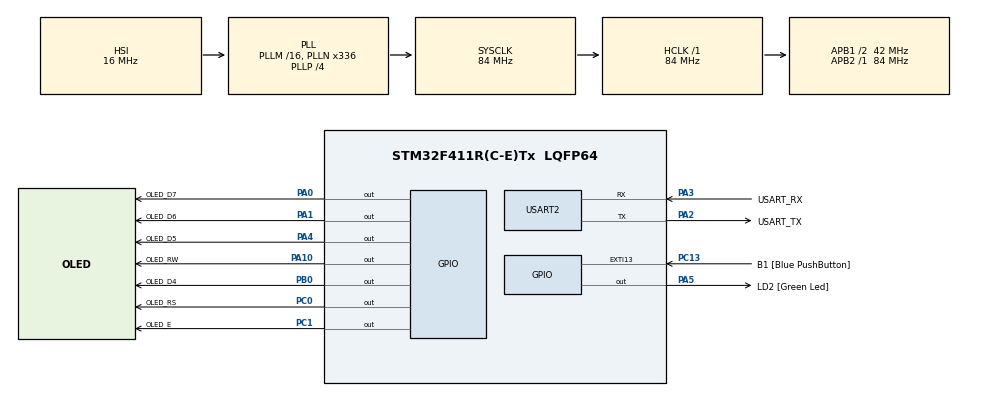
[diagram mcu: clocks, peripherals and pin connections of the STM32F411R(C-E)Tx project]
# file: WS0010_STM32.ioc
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Mcu.Family=STM32F4
Mcu.Name=STM32F411R(C-E)Tx
Mcu.Package=LQFP64
NVIC.PriorityGroup=NVIC_PRIORITYGROUP_0
PA0-WKUP.GPIO_Label=OLED_D7
PA0-WKUP.Signal=GPIO_Output
PA1.GPIO_Label=OLED_D6
PA1.Signal=GPIO_Output
PA10.GPIO_Label=OLED_RW
PA10.Signal=GPIO_Output
PA2.GPIO_Label=USART_TX
PA2.Mode=Asynchronous
PA2.Signal=USART2_TX
PA3.GPIO_Label=USART_RX
PA3.Mode=Asynchronous
PA3.Signal=USART2_RX
PA4.GPIO_Label=OLED_D5
PA4.Signal=GPIO_Output
PA5.GPIO_Label=LD2 [Green Led]
PA5.Signal=GPIO_Output
PB0.GPIO_Label=OLED_D4
PB0.Signal=GPIO_Output
PC0.GPIO_Label=OLED_RS
PC0.Signal=GPIO_Output
PC1.GPIO_Label=OLED_E
PC1.Signal=GPIO_Output
PC13-ANTI_TAMP.GPIO_Label=B1 [Blue PushButton]
PC13-ANTI_TAMP.GPIO_ModeDefaultEXTI=GPIO_MODE_IT_FALLING
PC13-ANTI_TAMP.Signal=GPXTI13
ProjectManager.HeapSize=0x200
ProjectManager.StackSize=0x400
ProjectManager.TargetToolchain=TrueSTUDIO
RCC.48MHZClocksFreq_Value=84000000
RCC.AHBFreq_Value=84000000
RCC.APB1CLKDivider=RCC_HCLK_DIV2
RCC.APB1Freq_Value=42000000
RCC.APB1TimFreq_Value=84000000
RCC.APB2Freq_Value=84000000
RCC.APB2TimFreq_Value=84000000
RCC.CortexFreq_Value=84000000
RCC.FLatency-AdvancedSettings=FLASH_LATENCY_2
RCC.HCLKFreq_Value=84000000
RCC.HSE_VALUE=8000000
RCC.HSI_VALUE=16000000
RCC.PLLN=336
RCC.PLLP=RCC_PLLP_DIV4
RCC.SYSCLKFreq_VALUE=84000000
RCC.SYSCLKSource=RCC_SYSCLKSOURCE_PLLCLK
RCC.VCOOutputFreq_Value=336000000
USART2.VirtualMode=VM_ASYNC
board=NUCLEO-F411RE

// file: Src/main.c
/* USER CODE BEGIN Header */
/**
 ******************************************************************************
 * @file           : main.c
 * @brief          : Main program body
 ******************************************************************************
 * @attention
 *
 *Copyright 2019 SimpleMethod
 *
 *Permission is hereby granted, free of charge, to any person obtaining a copy of
 *this software and associated documentation files (the "Software"), to deal in
 *the Software without restriction, including without limitation the rights to
 *use, copy, modify, merge, publish, distribute, sublicense, and/or sell copies
 *of the Software, and to permit persons to whom the Software is furnished to do
 *so, subject to the following conditions:
 *
 *The above copyright notice and this permission notice shall be included in all
 *copies or substantial portions of the Software.
 *
 *THE SOFTWARE IS PROVIDED "AS IS", WITHOUT WARRANTY OF ANY KIND, EXPRESS OR
 *IMPLIED, INCLUDING BUT NOT LIMITED TO THE WARRANTIES OF MERCHANTABILITY,
 *FITNESS FOR A PARTICULAR PURPOSE AND NONINFRINGEMENT. IN NO EVENT SHALL THE
 *AUTHORS OR COPYRIGHT HOLDERS BE LIABLE FOR ANY CLAIM, DAMAGES OR OTHER
 *LIABILITY, WHETHER IN AN ACTION OF CONTRACT, TORT OR OTHERWISE, ARISING FROM,
 *OUT OF OR IN CONNECTION WITH THE SOFTWARE OR THE USE OR OTHER DEALINGS IN
 *THE SOFTWARE.
 ******************************************************************************
 */
/* USER CODE END Header */

#include "main.h"

/* USER CODE BEGIN Includes */
#include <stdio.h>
#include <stdarg.h>
#include <string.h>
#include "OLED_WS0010.h"
/* USER CODE END Includes */

UART_HandleTypeDef huart2;

void SystemClock_Config(void);
static void MX_GPIO_Init(void);
static void MX_USART2_UART_Init(void);

/* USER CODE BEGIN 0 */
void vprint(const char *fmt, va_list argp) {
	char string[200];
	if (0 < vsprintf(string, fmt, argp)) // build string
			{
		HAL_UART_Transmit(&huart2, (uint8_t*) string, strlen(string), 0xffffff); // send message via UART
	}
}

void my_printf(const char *fmt, ...) // custom printf() function
{
	va_list argp;
	va_start(argp, fmt);
	vprint(fmt, argp);
	va_end(argp);
}
/* USER CODE END 0 */

int main(void) {

	/* MCU Configuration--------------------------------------------------------*/

	/* Reset of all peripherals, Initializes the Flash interface and the Systick. */
    	HAL_Init();

	/* Configure the system clock */
	SystemClock_Config();

	/* Initialize all configured peripherals */
	MX_GPIO_Init();
	MX_USART2_UART_Init();
	/* USER CODE BEGIN 2 */

	Oled_HandleTypeDef oled;

	GPIO_TypeDef* data_ports[] = { OLED_D4_GPIO_Port, OLED_D5_GPIO_Port,
	OLED_D6_GPIO_Port, OLED_D7_GPIO_Port };

	uint16_t data_pins[] =
			{ OLED_D4_Pin, OLED_D5_Pin, OLED_D6_Pin, OLED_D7_Pin };

	oled = Oled_init(OLED_RS_GPIO_Port, OLED_RS_Pin,
	OLED_E_GPIO_Port, OLED_E_Pin, data_ports, data_pins);

	Oled_cursor(&oled, 0, 2);
	Oled_string(&oled, "Hello ");

	Oled_cursor(&oled, 1, 8);
	Oled_string(&oled, "world!");

	HAL_Delay(3000);

	Oled_cursor(&oled, 1, 14);
	Oled_blink(&oled);

	/* USER CODE END 2 */

	/* Infinite loop */
	while (1) {

	}
}

void SystemClock_Config(void) {
	RCC_OscInitTypeDef RCC_OscInitStruct = { 0 };
	RCC_ClkInitTypeDef RCC_ClkInitStruct = { 0 };

	/** Configure the main internal regulator output voltage
	 */
	__HAL_RCC_PWR_CLK_ENABLE()
	;
	__HAL_PWR_VOLTAGESCALING_CONFIG(PWR_REGULATOR_VOLTAGE_SCALE1);
	/** Initializes the CPU, AHB and APB busses clocks
	 */
	RCC_OscInitStruct.OscillatorType = RCC_OSCILLATORTYPE_HSI;
	RCC_OscInitStruct.HSIState = RCC_HSI_ON;
	RCC_OscInitStruct.HSICalibrationValue = RCC_HSICALIBRATION_DEFAULT;
	RCC_OscInitStruct.PLL.PLLState = RCC_PLL_ON;
	RCC_OscInitStruct.PLL.PLLSource = RCC_PLLSOURCE_HSI;
	RCC_OscInitStruct.PLL.PLLM = 16;
	RCC_OscInitStruct.PLL.PLLN = 336;
	RCC_OscInitStruct.PLL.PLLP = RCC_PLLP_DIV4;
	RCC_OscInitStruct.PLL.PLLQ = 4;
	if (HAL_RCC_OscConfig(&RCC_OscInitStruct) != HAL_OK) {
		Error_Handler();
	}
	/** Initializes the CPU, AHB and APB busses clocks
	 */
	RCC_ClkInitStruct.ClockType = RCC_CLOCKTYPE_HCLK | RCC_CLOCKTYPE_SYSCLK
			| RCC_CLOCKTYPE_PCLK1 | RCC_CLOCKTYPE_PCLK2;
	RCC_ClkInitStruct.SYSCLKSource = RCC_SYSCLKSOURCE_PLLCLK;
	RCC_ClkInitStruct.AHBCLKDivider = RCC_SYSCLK_DIV1;
	RCC_ClkInitStruct.APB1CLKDivider = RCC_HCLK_DIV2;
	RCC_ClkInitStruct.APB2CLKDivider = RCC_HCLK_DIV1;

	if (HAL_RCC_ClockConfig(&RCC_ClkInitStruct, FLASH_LATENCY_2) != HAL_OK) {
		Error_Handler();
	}
}

static void MX_USART2_UART_Init(void) {

	huart2.Instance = USART2;
	huart2.Init.BaudRate = 115200;
	huart2.Init.WordLength = UART_WORDLENGTH_8B;
	huart2.Init.StopBits = UART_STOPBITS_1;
	huart2.Init.Parity = UART_PARITY_NONE;
	huart2.Init.Mode = UART_MODE_TX_RX;
	huart2.Init.HwFlowCtl = UART_HWCONTROL_NONE;
	huart2.Init.OverSampling = UART_OVERSAMPLING_16;
	if (HAL_UART_Init(&huart2) != HAL_OK) {
		Error_Handler();
	}

}

static void MX_GPIO_Init(void) {
	GPIO_InitTypeDef GPIO_InitStruct = { 0 };

	/* GPIO Ports Clock Enable */
	__HAL_RCC_GPIOC_CLK_ENABLE()
	;
	__HAL_RCC_GPIOA_CLK_ENABLE()
	;
	__HAL_RCC_GPIOB_CLK_ENABLE()
	;

	/*Configure GPIO pin Output Level */
	HAL_GPIO_WritePin(GPIOC, OLED_RS_Pin | OLED_E_Pin, GPIO_PIN_RESET);

	/*Configure GPIO pin Output Level */
	HAL_GPIO_WritePin(GPIOA,
	OLED_D7_Pin | OLED_D6_Pin | OLED_D5_Pin | LD2_Pin | OLED_RW_Pin,
			GPIO_PIN_RESET);

	/*Configure GPIO pin Output Level */
	HAL_GPIO_WritePin(OLED_D4_GPIO_Port, OLED_D4_Pin, GPIO_PIN_RESET);

	/*Configure GPIO pin : B1_Pin */
	GPIO_InitStruct.Pin = B1_Pin;
	GPIO_InitStruct.Mode = GPIO_MODE_IT_FALLING;
	GPIO_InitStruct.Pull = GPIO_NOPULL;
	HAL_GPIO_Init(B1_GPIO_Port, &GPIO_InitStruct);

	/*Configure GPIO pins : OLED_RS_Pin OLED_E_Pin */
	GPIO_InitStruct.Pin = OLED_RS_Pin | OLED_E_Pin;
	GPIO_InitStruct.Mode = GPIO_MODE_OUTPUT_PP;
	GPIO_InitStruct.Pull = GPIO_NOPULL;
	GPIO_InitStruct.Speed = GPIO_SPEED_FREQ_LOW;
	HAL_GPIO_Init(GPIOC, &GPIO_InitStruct);

	/*Configure GPIO pins : OLED_D7_Pin OLED_D6_Pin OLED_D5_Pin LD2_Pin
	 OLED_RW_Pin */
	GPIO_InitStruct.Pin = OLED_D7_Pin | OLED_D6_Pin | OLED_D5_Pin | LD2_Pin
			| OLED_RW_Pin;
	GPIO_InitStruct.Mode = GPIO_MODE_OUTPUT_PP;
	GPIO_InitStruct.Pull = GPIO_NOPULL;
	GPIO_InitStruct.Speed = GPIO_SPEED_FREQ_LOW;
	HAL_GPIO_Init(GPIOA, &GPIO_InitStruct);

	/*Configure GPIO pin : OLED_D4_Pin */
	GPIO_InitStruct.Pin = OLED_D4_Pin;
	GPIO_InitStruct.Mode = GPIO_MODE_OUTPUT_PP;
	GPIO_InitStruct.Pull = GPIO_NOPULL;
	GPIO_InitStruct.Speed = GPIO_SPEED_FREQ_LOW;
	HAL_GPIO_Init(OLED_D4_GPIO_Port, &GPIO_InitStruct);

}

void Error_Handler(void) {
}
